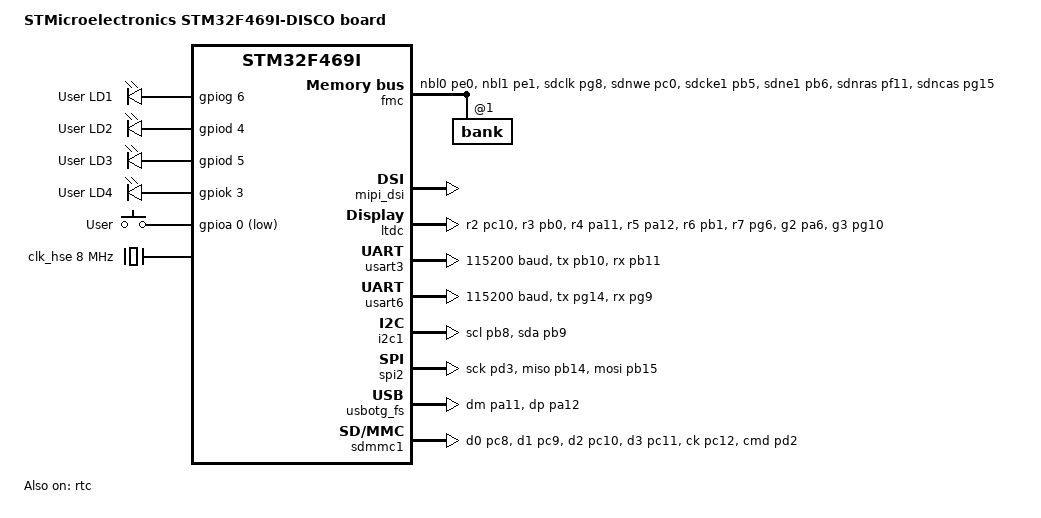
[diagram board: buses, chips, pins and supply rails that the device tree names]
/*
 * Copyright (c) 2017 Linaro Limited
 *
 * SPDX-License-Identifier: Apache-2.0
 */

/dts-v1/;
#include <st/f4/stm32f469Xi.dtsi>
#include <st/f4/stm32f469nihx-pinctrl.dtsi>
#include "arduino_r3_connector.dtsi"
#include <zephyr/dt-bindings/input/input-event-codes.h>
#include <zephyr/dt-bindings/display/panel.h>

/ {
	model = "STMicroelectronics STM32F469I-DISCO board";
	compatible = "st,stm32f469i-disco";

	chosen {
		zephyr,console = &usart3;
		zephyr,shell-uart = &usart3;
		zephyr,sram = &sram0;
		zephyr,flash = &flash0;
		zephyr,ccm = &ccm0;
		zephyr,display = &ltdc;
	};

	leds {
		compatible = "gpio-leds";
		green_led_1: led_1 {
			gpios = <&gpiog 6 GPIO_ACTIVE_HIGH>;
			label = "User LD1";
		};
		orange_led_2: led_2 {
			gpios = <&gpiod 4 GPIO_ACTIVE_HIGH>;
			label = "User LD2";
		};
		red_led_3: led_3 {
			gpios = <&gpiod 5 GPIO_ACTIVE_HIGH>;
			label = "User LD3";
		};
		blue_led_4: led_4 {
			gpios = <&gpiok 3 GPIO_ACTIVE_HIGH>;
			label = "User LD4";
		};
	};

	gpio_keys {
		compatible = "gpio-keys";
		user_button: button {
			label = "User";
			gpios = <&gpioa 0 GPIO_ACTIVE_LOW>;
			zephyr,code = <INPUT_KEY_0>;
		};
	};

	sdram2: sdram@d0000000 {
		compatible = "zephyr,memory-region", "mmio-sram";
		device_type = "memory";
		reg = <0xd0000000 DT_SIZE_M(8)>;
		zephyr,memory-region = "SDRAM2";
	};

	aliases {
		led0 = &green_led_1;
		led1 = &orange_led_2;
		led2 = &red_led_3;
		led3 = &blue_led_4;
		sw0 = &user_button;
	};
};

&fmc {
	status = "okay";
	pinctrl-0 = <&fmc_nbl0_pe0 &fmc_nbl1_pe1
		     &fmc_sdclk_pg8 &fmc_sdnwe_pc0 &fmc_sdcke1_pb5
		     &fmc_sdne1_pb6 &fmc_sdnras_pf11 &fmc_sdncas_pg15
		     &fmc_a0_pf0 &fmc_a1_pf1 &fmc_a2_pf2 &fmc_a3_pf3
		     &fmc_a4_pf4 &fmc_a5_pf5 &fmc_a6_pf12 &fmc_a7_pf13
		     &fmc_a8_pf14 &fmc_a9_pf15 &fmc_a10_pg0 &fmc_a11_pg1
		     &fmc_a12_pg2 &fmc_a13_pg3 &fmc_a14_pg4 &fmc_a15_pg5
		     &fmc_d0_pd14 &fmc_d1_pd15 &fmc_d2_pd0 &fmc_d3_pd1
		     &fmc_d4_pe7 &fmc_d5_pe8 &fmc_d6_pe9 &fmc_d7_pe10
		     &fmc_d8_pe11 &fmc_d9_pe12 &fmc_d10_pe13 &fmc_d11_pe14
		     &fmc_d12_pe15 &fmc_d13_pd8 &fmc_d14_pd9 &fmc_d15_pd10>;
	pinctrl-names = "default";

	sdram {
		status = "okay";

		power-up-delay = <100>;
		num-auto-refresh = <1>;
		mode-register = <0>;
		refresh-rate = <1386>;

		bank@1 {
			reg = <1>;

			st,sdram-control = <STM32_FMC_SDRAM_NC_8
					    STM32_FMC_SDRAM_NR_12
					    STM32_FMC_SDRAM_MWID_16
					    STM32_FMC_SDRAM_NB_4
					    STM32_FMC_SDRAM_CAS_2
					    STM32_FMC_SDRAM_SDCLK_PERIOD_3
					    STM32_FMC_SDRAM_RBURST_DISABLE
					    STM32_FMC_SDRAM_RPIPE_1>;
			st,sdram-timing = <2 7 4 7 2 2 2>;
		};
	};
};

&mipi_dsi {
	status = "okay";

	/* DSI HOST dedicated PLL
	 * F_VCO = CLK_IN / pll-idf * 2 * pll-ndiv
	 * PHI = F_VCO / 2 / (1 << pll-odf) = lane_byte_clk
	 *     = 25 MHz / 5 * 2 * 100 / 2 / (1<<0) / 8 = 62.5 MHz
	 */
	pll-ndiv = <100>;
	pll-idf = <5>;
	pll-odf = <0>;

	vs-active-high;
	hs-active-high;
	de-active-high;
};




&ltdc {
	pinctrl-0 = <&ltdc_r2_pc10 &ltdc_r3_pb0 &ltdc_r4_pa11 &ltdc_r5_pa12
		     &ltdc_r6_pb1 &ltdc_r7_pg6 &ltdc_g2_pa6 &ltdc_g3_pg10
		     &ltdc_g4_pb10 &ltdc_g5_pb11 &ltdc_g6_pc7 &ltdc_g7_pd3
		     &ltdc_b2_pd6 &ltdc_b3_pg11 &ltdc_b4_pg12 &ltdc_b5_pa3
		     &ltdc_b6_pb8 &ltdc_b7_pb9 &ltdc_de_pf10 &ltdc_clk_pg7
		     &ltdc_hsync_pc6 &ltdc_vsync_pa4>;
	pinctrl-names = "default";
	ext-sdram = <&sdram2>;
	status = "okay";

	width = <800>;
	height = <480>;
	pixel-format = <PANEL_PIXEL_FORMAT_RGB_565>;
	display-timings {
		compatible = "zephyr,panel-timing";
		de-active = <0>;
		pixelclk-active = <0>;
		hsync-active = <0>;
		vsync-active = <0>;
		hsync-len = <10>;
		vsync-len = <2>;
		hback-porch= <20>;
		vback-porch = <2>;
		hfront-porch = <10>;
		vfront-porch = <4>;
	};
	def-back-color-red = <0xFF>;
	def-back-color-green = <0xFF>;
	def-back-color-blue = <0xFF>;
};



&clk_lsi {
	status = "okay";
};

&clk_hse {
	clock-frequency = <DT_FREQ_M(8)>;
	status = "okay";
};

&pll {
	div-m = <8>;
	mul-n = <336>;
	div-p = <2>;
	div-q = <7>;
	clocks = <&clk_hse>;
	status = "okay";
};

&rcc {
	clocks = <&pll>;
	clock-frequency = <DT_FREQ_M(168)>;
	ahb-prescaler = <1>;
	apb1-prescaler = <4>;
	apb2-prescaler = <2>;
};

&usart3 {
	pinctrl-0 = <&usart3_tx_pb10 &usart3_rx_pb11>;
	pinctrl-names = "default";
	current-speed = <115200>;
	status = "okay";
};

&usart6 {
	pinctrl-0 = <&usart6_tx_pg14 &usart6_rx_pg9>;
	pinctrl-names = "default";
	current-speed = <115200>;
	status = "okay";
};

&i2c1 {
	pinctrl-0 = <&i2c1_scl_pb8 &i2c1_sda_pb9>;
	pinctrl-names = "default";
	status = "okay";
};

&spi2 {
	pinctrl-0 = <&spi2_sck_pd3 &spi2_miso_pb14 &spi2_mosi_pb15>;
	pinctrl-names = "default";
	cs-gpios = <&gpioh 6 (GPIO_ACTIVE_LOW | GPIO_PULL_UP)>;
	status = "okay";
};

zephyr_udc0: &usbotg_fs {
	pinctrl-0 = <&usb_otg_fs_dm_pa11 &usb_otg_fs_dp_pa12>;
	pinctrl-names = "default";
	status = "okay";
};

&rtc {
	clocks = <&rcc STM32_CLOCK_BUS_APB1 0x10000000>,
		 <&rcc STM32_SRC_LSI RTC_SEL(2)>;
	status = "okay";
};

&sdmmc1 {
	clocks = <&rcc STM32_CLOCK_BUS_APB2 0x00000800>,
		 <&rcc STM32_SRC_PLL_Q CLK48M_SEL(0)>;
	status = "okay";
	pinctrl-0 = <&sdio_d0_pc8
		     &sdio_d1_pc9
		     &sdio_d2_pc10
		     &sdio_d3_pc11
		     &sdio_ck_pc12
		     &sdio_cmd_pd2>;
	pinctrl-names = "default";
	cd-gpios = <&gpiog 2 GPIO_ACTIVE_LOW>;
};


